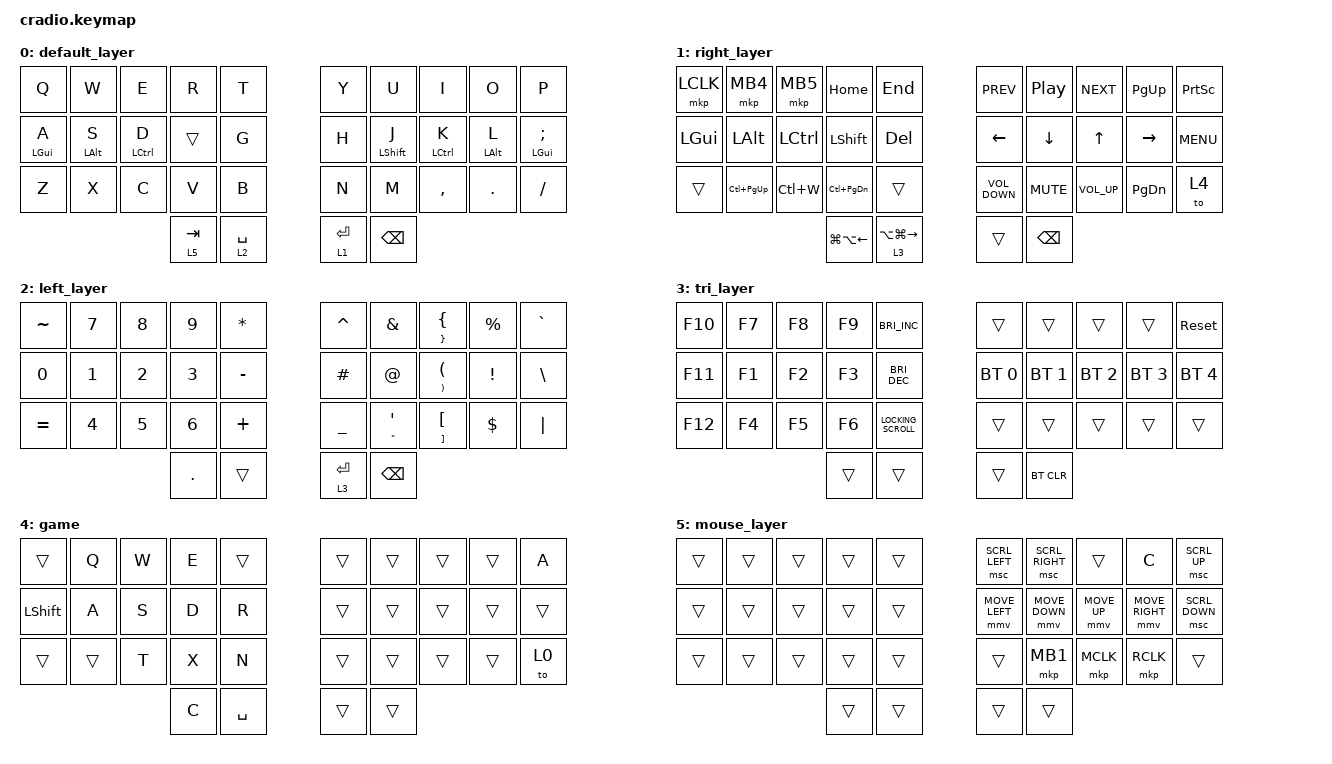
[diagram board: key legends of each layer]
// Copyright (c) 2022 The ZMK Contributors
// SPDX-License-Identifier: MIT

#include <dt-bindings/zmk/mouse.h>
#include <behaviors.dtsi>
#include <dt-bindings/zmk/bt.h>
#include <dt-bindings/zmk/keys.h>
#include <dt-bindings/zmk/pointing.h>

/ {
    behaviors {
        ht: hold_tap {
            compatible = "zmk,behavior-hold-tap";
            #binding-cells = <2>;
            flavor = "tap-preferred";
            tapping-term-ms = <220>;
            quick-tap-ms = <150>;
            require-prior-idle-ms = <100>;
            bindings = <&kp>, <&kp>;
        };

        htShift: htShift {
            compatible = "zmk,behavior-hold-tap";
            #binding-cells = <2>;
            flavor = "balanced";
            tapping-term-ms = <220>;
            quick-tap-ms = <150>;
            require-prior-idle-ms = <100>;
            bindings = <&kp>, <&kp>;

            label = "HTSHIFT";
        };
    };

    conditional_layers { compatible = "zmk,conditional-layers"; };

    combos {
        compatible = "zmk,combos";

        escape {
            bindings = <&kp ESCAPE>;
            key-positions = <2 3>;
        };

        test_mouse {
            bindings = <&mkp LCLK>;
            key-positions = <16 17>;
        };

        ege {
            bindings = <&ht LEFT_SHIFT F>;
            key-positions = <3 14>;
        };

        gr {
            bindings = <&kp T>;
            key-positions = <3 2>;
        };

        dg {
            bindings = <&kp NUMBER_3>;
            key-positions = <12 14>;
        };
    };

    keymap {
        compatible = "zmk,keymap";

        default_layer {
            bindings = <
  &kp Q           &kp W           &kp E               &kp R      &kp T          &kp Y        &kp U                  &kp I               &kp O           &kp P
  &ht LEFT_GUI A  &ht LEFT_ALT S  &ht LEFT_CONTROL D  &trans     &kp G          &kp H        &htShift LEFT_SHIFT J  &ht LEFT_CONTROL K  &ht LEFT_ALT L  &ht LEFT_GUI SEMICOLON
  &kp Z           &kp X           &kp C               &kp V      &kp B          &kp N        &kp M                  &kp COMMA           &kp DOT         &kp FSLH
                                                      &lt 5 TAB  &lt 2 SPACE    &lt 1 ENTER  &kp BACKSPACE
            >;
        };

        right_layer {
            bindings = <
  &mkp LCLK  &mkp MB4         &mkp MB5   &kp HOME                &kp END                &kp C_PREV         &kp C_PLAY_PAUSE  &kp C_NEXT       &kp PAGE_UP    &kp PRINTSCREEN
  &kp LGUI   &kp LALT         &kp LCTRL  &kp LSHFT               &kp DELETE             &kp LEFT           &kp DOWN          &kp UP           &kp RIGHT      &kp C_MENU
  &trans     &kp LC(PAGE_UP)  &kp LC(W)  &kp LC(PAGE_DOWN)       &trans                 &kp C_VOLUME_DOWN  &kp K_MUTE        &kp C_VOLUME_UP  &kp PAGE_DOWN  &to 4
                                         &kp LG(LA(LEFT_ARROW))  &lt 3 LA(LG(RIGHT))    &trans             &kp BSPC
            >;
        };

        left_layer {
            bindings = <
  &kp TILDE  &kp N7  &kp N8  &kp N9   &kp STAR     &kp CARET       &kp AMPERSAND                 &mt RIGHT_BRACE LEFT_BRACE              &kp PERCENT      &kp GRAVE
  &kp N0     &kp N1  &kp N2  &kp N3   &kp MINUS    &kp POUND       &kp AT_SIGN                   &mt RIGHT_PARENTHESIS LEFT_PARENTHESIS  &kp EXCLAMATION  &kp BACKSLASH
  &kp EQUAL  &kp N4  &kp N5  &kp N6   &kp PLUS     &kp UNDERSCORE  &mt DOUBLE_QUOTES APOSTROPHE  &mt RIGHT_BRACKET LEFT_BRACKET          &kp DOLLAR       &kp PIPE
                             &kp DOT  &trans       &lt 3 ENTER     &kp BACKSPACE
            >;
        };

        tri_layer {
            bindings = <
  &kp F10  &kp F7  &kp F8  &kp F9  &kp C_BRIGHTNESS_INC    &trans        &trans        &trans        &trans        &sys_reset
  &kp F11  &kp F1  &kp F2  &kp F3  &kp C_BRIGHTNESS_DEC    &bt BT_SEL 0  &bt BT_SEL 1  &bt BT_SEL 2  &bt BT_SEL 3  &bt BT_SEL 4
  &kp F12  &kp F4  &kp F5  &kp F6  &kp LOCKING_SCROLL      &trans        &trans        &trans        &trans        &trans
                           &trans  &trans                  &trans        &bt BT_CLR
            >;
        };

        game {
            bindings = <
  &trans     &kp Q   &kp W  &kp E  &trans       &trans  &trans  &trans  &trans  &kp A
  &kp LSHFT  &kp A   &kp S  &kp D  &kp R        &trans  &trans  &trans  &trans  &trans
  &trans     &trans  &kp T  &kp X  &kp N        &trans  &trans  &trans  &trans  &to 0
                            &kp C  &kp SPACE    &trans  &trans
            >;
        };

        mouse_layer {
            bindings = <
  &trans  &trans  &trans  &trans  &trans    &msc SCRL_LEFT  &msc SCRL_RIGHT  &trans        &kp C            &msc SCRL_UP
  &trans  &trans  &trans  &trans  &trans    &mmv MOVE_LEFT  &mmv MOVE_DOWN   &mmv MOVE_UP  &mmv MOVE_RIGHT  &msc SCRL_DOWN
  &trans  &trans  &trans  &trans  &trans    &trans          &mkp MB1         &mkp MCLK     &mkp RCLK        &trans
                          &trans  &trans    &trans          &trans
            >;
        };
    };
};
